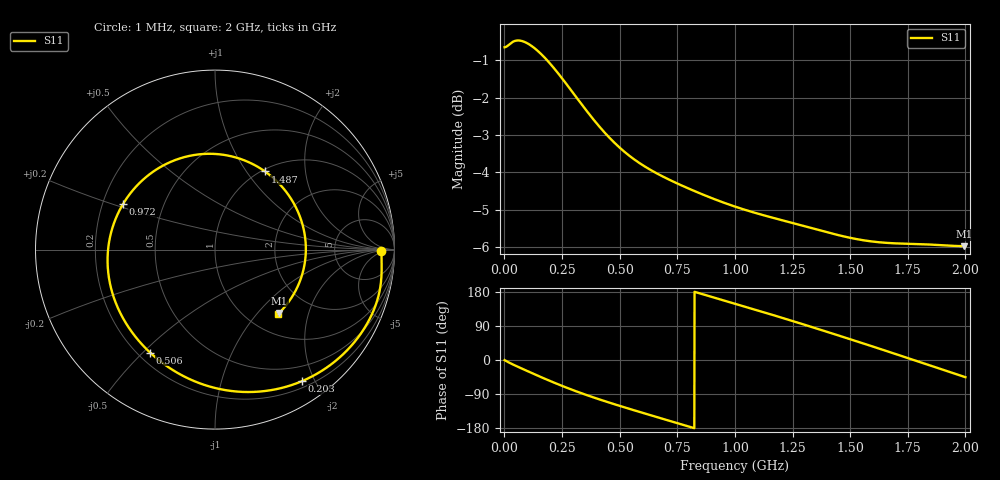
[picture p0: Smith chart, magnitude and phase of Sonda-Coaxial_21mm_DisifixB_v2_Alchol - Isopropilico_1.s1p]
! TOUCHSTONE file generated by CST MICROWAVE STUDIO
! Date and time: Sun Aug  2 11:31:12 2026
! Project name: Sonda-Coaxial_21mm_DisifixB_v2_Alchol - Isopropilico.cst
! Parameters = {h_recipiente=20; l_conector=50; r_arandela=35; r_ext=10.5; r_int=3; r_recipiente=100; z_recipiente=-10}
! Header version: 2018
! Port assignment regex: !\s*Touchstone port\s*([0-9]+)\s*=\s*(CST MWS port|CST DS port)\s*([0-9]+|Zmin|Zmax)\s*\(\"(.*)\"\)(\s*mode\s*([0-9]+))?.*
! Touchstone port assignment:
! Touchstone port 1 = CST MWS port 1 ("")
# GHz S RI R 50
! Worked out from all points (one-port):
!   2000 points, 1 MHz to 2 GHz, reference 50 ohm
!   lowest |S11| = -6.0 dB at 1.996 GHz (marker M1), VSWR 3.02, Z = 69.6 - j65.8 ohm
!   |S11| at or under -10 dB: nowhere
!   S11 on the Smith chart (normalised r, x): 1 MHz: 26, -2; 203 MHz: 0.28, -1.82; 506 MHz: 0.25, -0.53; 972 MHz: 0.29, +0.22; 1.487 GHz: 1.03, +1.23; 2 GHz: 1.37, -1.31
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0.001  0.9275 -0.00567
0.045  0.9171 -0.2305
0.087  0.8496 -0.4091
0.146  0.6843 -0.6096
0.203  0.4841 -0.7332
0.251  0.3091 -0.7836
0.308  0.1138 -0.7902
0.375  -0.0832 -0.7455
0.436  -0.2288 -0.675
0.501  -0.3526 -0.5821
0.506  -0.361 -0.5744
0.567  -0.4508 -0.4759
0.629  -0.5203 -0.3678
0.69  -0.5677 -0.2553
0.751  -0.5935 -0.1393
0.859  -0.5863 0.0634
0.972  -0.5125 0.2538
1.001  -0.484 0.297
1.132  -0.3151 0.4535
1.251  -0.1188 0.5266
1.367  0.0858 0.521
1.487  0.2783 0.4356
1.501  0.2981 0.4209
1.632  0.4454 0.2456
1.751  0.5046 0.043
1.866  0.4785 -0.1612
1.996  0.3581 -0.3529
2  0.3533 -0.3578
